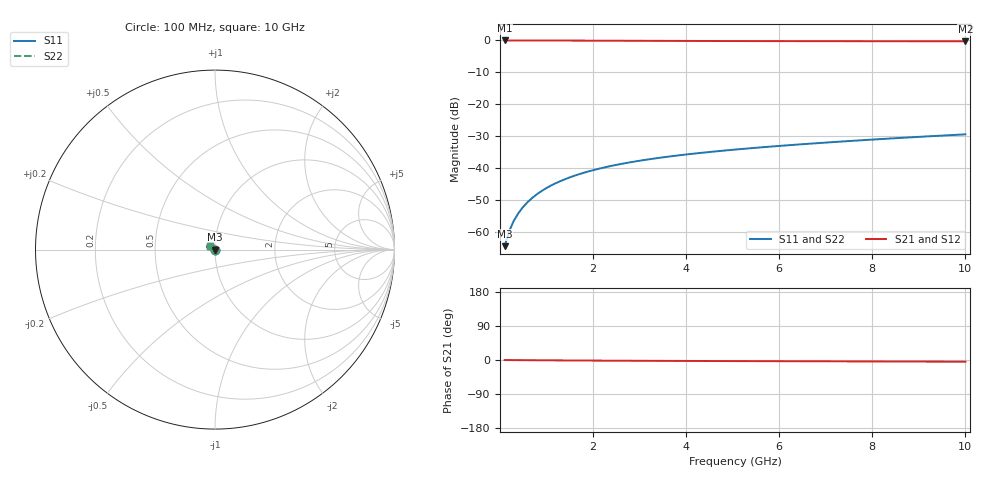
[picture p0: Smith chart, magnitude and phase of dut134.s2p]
! Touchstone file exported from HFSS 2024.1.0
!  File:  C:/UserFiles/LocalFiles/RDL_TSV_Batchsim/temp_TSV1_134_1779379815.aedt
!  Generated:  12:17:20 AM May 22, 2026
!  Design:  TSV1
!  Project:  temp_TSV1_134_1779379815
!  Setup:  Setup1
!  Solution:  Sweep
! Variables:
!  dtsv = 5.91um
!  hbump = 3um
!  htsv = 62.93um
!  lrdl = 252.1521522um
!  p = 40
!  p1 = 52.89um
!  t = 500um
!  trdl = 3um
!  wrdl = 24.89489489um
# GHz S MA R 50.000000
! Terminal data exported
! Port[1] = TSV22_T1
! Port[2] = TSV22_T2
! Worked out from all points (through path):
!   100 points, 100 MHz to 10 GHz, reference 50 ohm
!   highest |S21| = 0.00 dB at 100 MHz (marker M1); lowest = -0.3 dB at 10 GHz (marker M2)
!   lowest |S11| = -64.4 dB at 100 MHz (marker M3), VSWR 1.00, Z = 50 - j0.0506 ohm
!   |S11| at or under -10 dB: start of sweep to end of sweep
!   |S22| runs from -64.4 to -29.4 dB; largest |S21 - S12| = 1.2e-15
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0.1  0.0006018 -57.2  0.9996 -0.1  0.9996 -0.1  0.0006018 -57.2
! Gamma 0 0 0 0
! Port Impedance 50 0 50 0
0.2  0.001041 -75.7  0.9996 -0.2  0.9996 -0.2  0.001041 -75.7
0.3  0.001514 -84.5  0.9994 -0.3  0.9994 -0.3  0.001514 -84.5
0.4  0.001997 -90.3  0.9993 -0.4  0.9993 -0.4  0.001997 -90.3
0.5  0.002484 -94.8  0.9991 -0.4  0.9991 -0.4  0.002484 -94.8
0.6  0.002971 -98.6  0.9988 -0.5  0.9988 -0.5  0.002971 -98.6
0.7  0.003457 -101.9  0.9985 -0.6  0.9985 -0.6  0.003457 -101.9
0.8  0.003941 -105.0  0.9982 -0.7  0.9982 -0.7  0.003941 -105.0
0.9  0.00442 -107.9  0.9979 -0.8  0.9979 -0.8  0.00442 -107.9
1.1  0.005365 -113.4  0.9971 -0.9  0.9971 -0.9  0.005365 -113.4
1.4  0.006739 -120.9  0.9957 -1.1  0.9957 -1.1  0.006739 -120.9
1.6  0.007622 -125.6  0.9947 -1.3  0.9947 -1.3  0.007622 -125.6
1.8  0.008479 -130.1  0.9937 -1.4  0.9937 -1.4  0.008479 -130.1
2.1  0.009714 -136.5  0.9921 -1.6  0.9921 -1.6  0.009714 -136.5
2.5  0.01127 -144.5  0.9899 -1.8  0.9899 -1.8  0.01127 -144.5
2.9  0.01273 -151.9  0.9877 -2.0  0.9877 -2.0  0.01273 -151.9
3.4  0.01445 -160.4  0.9852 -2.3  0.9852 -2.3  0.01445 -160.4
4.2  0.01701 -172.2  0.9817 -2.6  0.9817 -2.6  0.01701 -172.2
5.1  0.01971 176.7  0.9786 -2.9  0.9786 -2.9  0.01971 176.7
6.7  0.02432 161.1  0.9745 -3.4  0.9745 -3.4  0.02432 161.1
8.4  0.0292 148.9  0.9716 -4.0  0.9716 -4.0  0.0292 148.9
10  0.03388 140.2  0.9697 -4.5  0.9697 -4.5  0.03388 140.2
